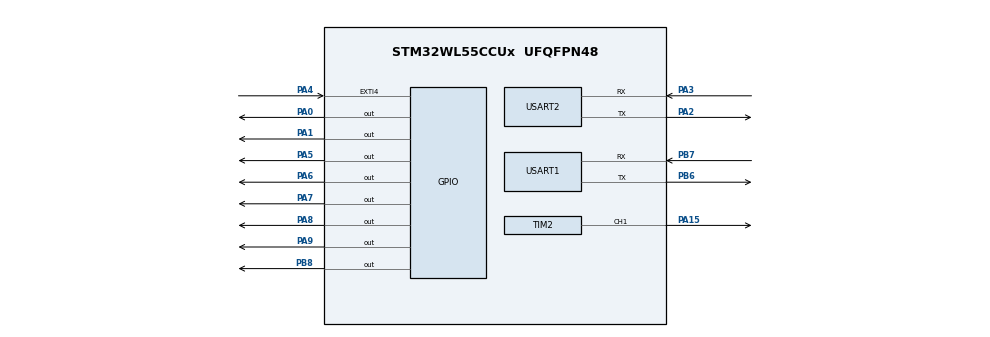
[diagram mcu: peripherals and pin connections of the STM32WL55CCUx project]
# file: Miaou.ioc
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Dma.Request0=USART2_RX
Dma.Request1=USART2_TX
Dma.USART2_RX.0.Channel_PRIV_NPRIV=DMA_CHANNEL_PRIV_ENABLE
Dma.USART2_RX.0.Direction=DMA_PERIPH_TO_MEMORY
Dma.USART2_RX.0.EventEnable=DISABLE
Dma.USART2_RX.0.Instance=DMA1_Channel1
Dma.USART2_RX.0.MemDataAlignment=DMA_MDATAALIGN_BYTE
Dma.USART2_RX.0.MemInc=DMA_MINC_ENABLE
Dma.USART2_RX.0.Mode=DMA_CIRCULAR
Dma.USART2_RX.0.PeriphDataAlignment=DMA_PDATAALIGN_BYTE
Dma.USART2_RX.0.PeriphInc=DMA_PINC_DISABLE
Dma.USART2_RX.0.Polarity=HAL_DMAMUX_REQ_GEN_RISING
Dma.USART2_RX.0.Priority=DMA_PRIORITY_VERY_HIGH
Dma.USART2_RX.0.RequestNumber=1
Dma.USART2_RX.0.SignalID=NONE
Dma.USART2_RX.0.SyncEnable=DISABLE
Dma.USART2_RX.0.SyncPolarity=HAL_DMAMUX_SYNC_NO_EVENT
Dma.USART2_RX.0.SyncRequestNumber=1
Dma.USART2_RX.0.SyncSignalID=NONE
Dma.USART2_TX.1.Channel_PRIV_NPRIV=DMA_CHANNEL_NPRIV_DISABLE
Dma.USART2_TX.1.Direction=DMA_MEMORY_TO_PERIPH
Dma.USART2_TX.1.EventEnable=DISABLE
Dma.USART2_TX.1.Instance=DMA1_Channel2
Dma.USART2_TX.1.MemDataAlignment=DMA_MDATAALIGN_BYTE
Dma.USART2_TX.1.MemInc=DMA_MINC_ENABLE
Dma.USART2_TX.1.Mode=DMA_NORMAL
Dma.USART2_TX.1.PeriphDataAlignment=DMA_PDATAALIGN_BYTE
Dma.USART2_TX.1.PeriphInc=DMA_PINC_DISABLE
Dma.USART2_TX.1.Polarity=HAL_DMAMUX_REQ_GEN_RISING
Dma.USART2_TX.1.Priority=DMA_PRIORITY_LOW
Dma.USART2_TX.1.RequestNumber=1
Dma.USART2_TX.1.SignalID=NONE
Dma.USART2_TX.1.SyncEnable=DISABLE
Dma.USART2_TX.1.SyncPolarity=HAL_DMAMUX_SYNC_NO_EVENT
Dma.USART2_TX.1.SyncRequestNumber=1
Dma.USART2_TX.1.SyncSignalID=NONE
Mcu.Family=STM32WL
Mcu.Name=STM32WL55CCUx
Mcu.Package=UFQFPN48
NVIC.DMA1_Channel1_IRQn=true\:0\:0\:false\:false\:true\:false\:true\:true
NVIC.DMA1_Channel2_IRQn=true\:0\:0\:false\:false\:true\:false\:true\:true
NVIC.EXTI4_IRQn=true\:0\:0\:false\:false\:true\:true\:true\:true
NVIC.PriorityGroup=NVIC_PRIORITYGROUP_4
NVIC.SUBGHZ_Radio_IRQn=true\:0\:0\:false\:false\:true\:true\:true\:true
NVIC.TIM16_IRQn=true\:0\:0\:false\:false\:true\:true\:true\:true
NVIC.USART1_IRQn=true\:0\:0\:false\:false\:true\:true\:true\:true
NVIC.USART2_IRQn=true\:1\:0\:true\:false\:true\:true\:true\:true
OSC_IN.Mode=HSE-External-Oscillator
OSC_IN.Signal=RCC_OSC_IN
OSC_OUT.Mode=HSE-External-Oscillator
OSC_OUT.Signal=RCC_OSC_OUT
PA0.Signal=GPIO_Output
PA1.Signal=GPIO_Output
PA13.Mode=Serial_Wire
PA13.Signal=DEBUG_JTMS-SWDIO
PA14.Mode=Serial_Wire
PA14.Signal=DEBUG_JTCK-SWCLK
PA15.Signal=S_TIM2_CH1
PA2.Mode=Asynchronous
PA2.Signal=USART2_TX
PA3.Mode=Asynchronous
PA3.Signal=USART2_RX
PA4.GPIO_ModeDefaultEXTI=GPIO_MODE_IT_FALLING
PA4.GPIO_PuPd=GPIO_PULLUP
PA4.Signal=GPXTI4
PA5.Signal=GPIO_Output
PA6.Signal=GPIO_Output
PA7.Signal=GPIO_Output
PA8.GPIO_PuPd=GPIO_PULLUP
PA8.PinState=GPIO_PIN_SET
PA8.Signal=GPIO_Output
PA9.Signal=GPIO_Output
PB6.Mode=Asynchronous
PB6.Signal=USART1_TX
PB7.Mode=Asynchronous
PB7.Signal=USART1_RX
PB8.Signal=GPIO_Output
ProjectManager.HeapSize=0x200
ProjectManager.StackSize=0x400
ProjectManager.TargetToolchain=STM32CubeIDE
RCC.AHBFreq_Value=48000000
RCC.APB1Freq_Value=48000000
RCC.APB1TimFreq_Value=48000000
RCC.APB2Freq_Value=48000000
RCC.APB2TimFreq_Value=48000000
RCC.APB3Freq_Value=48000000
RCC.CortexFreq_Value=48000000
RCC.HCLKFreq_Value=48000000
RCC.HSE_VALUE=32000000
RCC.HSI_VALUE=16000000
RCC.LSE_VALUE=32768
RCC.MSIClockRange=RCC_MSIRANGE_11
RCC.SYSCLKFreq_VALUE=48000000
RCC.VCOOutputFreq_Value=384000000
SH.S_TIM2_CH1.0=TIM2_CH1,PWM Generation1 CH1
SUBGHZ.BaudratePrescaler=SUBGHZSPI_BAUDRATEPRESCALER_4
TIM16.Channel=TIM_CHANNEL_1
TIM16.Period=60000
TIM16.Prescaler=128
TIM2.Channel-PWM\ Generation1\ CH1=TIM_CHANNEL_1
USART1.FIFOMode=FIFOMODE_DISABLE
USART1.VirtualMode-Asynchronous=VM_ASYNC
USART2.VirtualMode-Asynchronous=VM_ASYNC
VP_SUBGHZ_VS_SUBGHZ.Mode=SUBGHZ_Activate
VP_TIM16_VS_ClockSourceINT.Mode=Enable_Timer
VP_TIM16_VS_no_output1.Mode=Output Compare1 No Output
VP_TIM2_VS_ClockSourceINT.Mode=Internal
board=custom

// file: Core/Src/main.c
/* USER CODE BEGIN Header */
/**
  ******************************************************************************
  * @file           : main.c
  * @brief          : Main program body
  ******************************************************************************
  * @attention
  *
  * Copyright (c) 2022 STMicroelectronics.
  * All rights reserved.
  *
  * This software is licensed under terms that can be found in the LICENSE file
  * in the root directory of this software component.
  * If no LICENSE file comes with this software, it is provided AS-IS.
  *
  ******************************************************************************
  */
/* USER CODE END Header */
#include "main.h"
#include "dma.h"
#include "subghz.h"
#include "tim.h"
#include "usart.h"
#include "gpio.h"

/* USER CODE BEGIN Includes */
#include <string.h>
#include <stdio.h>
#include "radio_driver.h"
#include "stm32wlxx.h"
#include "stm32wlxx_hal.h"
#include "comunicator.h"
#include "util.h"
#include "utility.h" //to share FSM with Interrupts
#include <gnss/gnss.h>
#include <ERT_RF_Protocol_Interface/PacketDefinition.h>
/* USER CODE END Includes */

/* USER CODE BEGIN PTD */

//int rxMargin = 10000; //commented DO NOT USE USE

/* USER CODE END PTD */

/* USER CODE BEGIN PM */

/////////////////////////////////////////////////////////////////////////////
/////////////////////////////////////////////////////////////////////////////
#define UPLINK_MIAOU  		false  // If 'false' it is the DOWNLINK_MIAOU
/////////////////////////////////////////////////////////////////////////////
/////////////////////////////////////////////////////////////////////////////

#if UPLINK_MIAOU
#define RF_FREQUENCY                                867000000 /* Hz */ // AV UPLINK
#else
#define RF_FREQUENCY                                869000000 /* Hz */   // AV DOWNLINK
#endif
#define TX_OUTPUT_POWER                             22        /* dBm */ //Do not exceed 10 dBm !!!  (max >15  <22 dBm for HPmode)  (LP  0 < x < 10)
#define LORA_BANDWIDTH                              0        /* Hz */ // 125kHz <=> 0
#define LORA_SPREADING_FACTOR                       8 //10
#define LORA_CODINGRATE                             3
#define LORA_PREAMBLE_LENGTH                        8         /* Same for Tx and Rx */
#define LORA_SYMBOL_TIMEOUT                         5         /* Symbols */
// HIGH POWER max 16 dBm
// The STM32WL low power is amplified by AMP and thus really HIGH POWER!! => Highest power output
// 2 antennas always, just power splitter as 2 antennas in Rocket!
// So for the tests use mode HP (which is the lowest power in MiaouV2)
#define LORA_PA_OUTPUT								RFO_HP // OR RFO_HP if > 15 dBm   RFO_HP = HIGH POWER (Without AmpliOp) max 22 dBm (16 a 22)

#define RX_TIMOUT									4294967290 //3000//4294967290 //ms
#define VERBOSE 0  //  DO not put verbose if want to communicate with AV, as only 1 uart now

#if UPLINK_MIAOU
#define TX_ENABLED 0  // UPLINK
#else
#define TX_ENABLED 1  // DOWLINK
#endif

//pingPongFSM_t fsm;

/* USER CODE END PM */

/* USER CODE BEGIN PV */
void (*volatile eventReceptor)(pingPongFSM_t *const fsm);
PacketParams_t packetParams;  // TODO: this is lazy

const RadioLoRaBandwidths_t Bandwidths[] = { LORA_BW_125, LORA_BW_250, LORA_BW_500 };

uint8_t capsule_buf[256] = {0};

/* USER CODE END PV */

void SystemClock_Config(void);
/* USER CODE BEGIN PFP */
void radioInit(void);
void RadioOnDioIrq(RadioIrqMasks_t radioIrq);
void eventTxDone(pingPongFSM_t *const fsm);
void eventRxDone(pingPongFSM_t *const fsm);
void eventTxTimeout(pingPongFSM_t *const fsm);
void eventRxTimeout(pingPongFSM_t *const fsm);
void eventRxError(pingPongFSM_t *const fsm);
void enterMasterRx(pingPongFSM_t *const fsm);
void enterSlaveRx(pingPongFSM_t *const fsm);
//void enterMasterTx(pingPongFSM_t *const fsm, unsigned char* msg_to_send); IN MAIN.h !!!!!!!!!!!!!!!!!!!
void enterMasterTxLen(pingPongFSM_t *const fsm, uint8_t* msg_to_send, uint16_t len);
void enterSlaveTx(pingPongFSM_t *const fsm);
void transitionRxDone(pingPongFSM_t *const fsm);
void HAL_UART_RxCpltCallback(UART_HandleTypeDef *huart);
void UART2_RxCallback(uint8_t opcode, uint16_t len, uint8_t* data);

static char* msg_to_send = "Miaoux";
/*void HAL_Delay(uint32_t milliseconds) {
	//https://community.st.com/s/feed/0D50X00009XkW2MSAV
	milliseconds = milliseconds/48000000;

   (void) SysTick->CTRL;

   while (milliseconds != 0) {

      milliseconds -= (SysTick->CTRL & SysTick_CTRL_COUNTFLAG_Msk) >> SysTick_CTRL_COUNTFLAG_Pos;

   }
}*/

static uint8_t UART2_rxFragment;
static uint8_t UART2_rxBufferData[1024];
static util_buffer_u8_t UART2_rxBuffer;

static uint8_t UART1_rxFragment;
static uint8_t UART1_rxBufferData[1024];
static util_buffer_u8_t UART1_rxBuffer;

static comunicator_t com;

static gnss_context_t gnss;

/* USER CODE END PFP */

int main(void)
{
  /* USER CODE BEGIN 1 */

	 //pingPongFSM_t fsm;
	 //char uartBuff[200];

  /* USER CODE END 1 */

  /* MCU Configuration--------------------------------------------------------*/

  /* Reset of all peripherals, Initializes the Flash interface and the Systick. */
  HAL_Init();

  /* Configure the system clock */
  SystemClock_Config();

  /* Initialize all configured peripherals */
  MX_GPIO_Init();
  MX_SUBGHZ_Init();
  MX_DMA_Init();
  MX_USART2_UART_Init();
  MX_USART1_UART_Init();
  MX_TIM2_Init();
  MX_TIM16_Init();
  /* USER CODE BEGIN 2 */
  HAL_GPIO_WritePin(GPIOA, GPIO_PIN_0, GPIO_PIN_SET);
  HAL_GPIO_WritePin(GPIOA, GPIO_PIN_1, GPIO_PIN_SET);
  HAL_GPIO_WritePin(GPIOB, GPIO_PIN_8, GPIO_PIN_SET);
  //HAL_GPIO_WritePin(GPIOA, GPIO_PIN_8, GPIO_PIN_RESET);//GPS NReset

  //GPIO 0 ORANGE MILIEU
  //GPIO 1 Rouge
  //GPio 8 vert

  //HAL_UART_Receive_IT(&huart2, UART2_rxBuffer, 5);

  util_buffer_u8_init(&UART2_rxBuffer, UART2_rxBufferData, 1024);
  comunicator_init(&com, &huart2, UART2_RxCallback);
  HAL_UART_Receive_IT(&huart2, &UART2_rxFragment, 1);

  util_buffer_u8_init(&UART1_rxBuffer, UART1_rxBufferData, 1024);
  HAL_UART_Receive_IT(&huart1, &UART1_rxFragment, 1);

  //comunicator_send(&com, opcode, length, data);
  radioInit();

 #if VERBOSE == 1
  HAL_UART_Transmit(&huart2, (uint8_t *)"Radio Init\r\n", 12, HAL_MAX_DELAY);
 #endif
  //printf("Radio init\n");

  /* USER CODE END 2 */

  /* Infinite loop */
  /* USER CODE BEGIN WHILE */

	//int32_t rnd = 0;
	//10. Enable TxDone and timeout interrupts by configuring IRQ with Cfg_DioIrq().
	SUBGRF_SetDioIrqParams(IRQ_RADIO_NONE, IRQ_RADIO_NONE, IRQ_RADIO_NONE, IRQ_RADIO_NONE);
	//rnd = SUBGRF_GetRandom();

	fsm.state = STATE_NULL;
	fsm.subState = SSTATE_NULL;
	fsm.rxTimeout = RX_TIMOUT; // 3000 ms rxTimeout
	//fsm.rxMargin = 3000000;   // 200 ms
	//fsm.randomDelay = rnd >> 22; // [0, 1023] ms
	//sprintf(uartBuff, "rand=%u\r\n", fsm.randomDelay);
	//HAL_UART_Transmit(&huart2, (uint8_t *)uartBuff, strlen(uartBuff), HAL_MAX_DELAY);

	//HAL_Delay(fsm.randomDelay);
	SUBGRF_SetDioIrqParams( IRQ_RX_DONE | IRQ_RX_TX_TIMEOUT | IRQ_CRC_ERROR,
							IRQ_RX_DONE | IRQ_RX_TX_TIMEOUT | IRQ_CRC_ERROR,
							IRQ_RADIO_NONE, IRQ_RADIO_NONE );
	//SUBGRF_SetSwitch(RFO_LP, RFSWITCH_RX);
	SUBGRF_SetSwitch(RFO_LP, RFSWITCH_RX);
	SUBGRF_SetRx(fsm.rxTimeout << 6);
	//fsm.state = STATE_MASTER;
	//fsm.subState = SSTATE_RX;

	//radio_TX("salut",5);

	//HAL_GPIO_WritePin(GPIOA, GPIO_PIN_0, GPIO_PIN_RESET);
	//HAL_GPIO_WritePin(GPIOA, GPIO_PIN_1, GPIO_PIN_SET);
	//HAL_GPIO_WritePin(GPIOB, GPIO_PIN_8, GPIO_PIN_SET);
	//SUBGRF_SetTxInfinitePreamble();
	//SUBGRF_SetTxContinuousWave();

	HAL_GPIO_WritePin(GPIOA, GPIO_PIN_9, GPIO_PIN_RESET);// power supplies
//	HAL_GPIO_WritePin(GPIOA, GPIO_PIN_8, GPIO_PIN_RESET);// RESET GPS
//	HAL_GPIO_WritePin(GPIOB, GPIO_PIN_8, GPIO_PIN_SET);

	TIM2->ARR = 32e6/3000 -1;
	TIM2->CCR1 = 0.5*32e6/3000 -1 ;
	HAL_TIM_PWM_Start(&htim2, TIM_CHANNEL_1);
	HAL_Delay(300);
	HAL_TIM_PWM_Stop(&htim2, TIM_CHANNEL_1);

  while (1)
  {

    /* USER CODE END WHILE */

    /* USER CODE BEGIN 3 */

	  eventReceptor = NULL;
	  while (eventReceptor == NULL) {
		  while(!util_buffer_u8_isempty(&UART2_rxBuffer)) {
			  comunicator_recv(&com, util_buffer_u8_get(&UART2_rxBuffer));
		  }
		  while(!util_buffer_u8_isempty(&UART1_rxBuffer)) {
			  gnss_handle_fragment(&gnss, util_buffer_u8_get(&UART1_rxBuffer));
			  if(gnss.done) {
				  comunicator_send(&com, MIAOU_GNSS, sizeof(av_miaou_gnss_t), (uint8_t *) &gnss.data);

			  }
		  }
	  }
	  eventReceptor(&fsm);
  }
  /* USER CODE END 3 */
}

void SystemClock_Config(void)
{
  RCC_OscInitTypeDef RCC_OscInitStruct = {0};
  RCC_ClkInitTypeDef RCC_ClkInitStruct = {0};

  /** Configure the main internal regulator output voltage
  */
  __HAL_PWR_VOLTAGESCALING_CONFIG(PWR_REGULATOR_VOLTAGE_SCALE1);
  /** Initializes the CPU, AHB and APB busses clocks
  */
  RCC_OscInitStruct.OscillatorType = RCC_OSCILLATORTYPE_MSI;
  RCC_OscInitStruct.MSIState = RCC_MSI_ON;
  RCC_OscInitStruct.MSICalibrationValue = RCC_MSICALIBRATION_DEFAULT;
  RCC_OscInitStruct.MSIClockRange = RCC_MSIRANGE_11;
  RCC_OscInitStruct.PLL.PLLState = RCC_PLL_NONE;
  if (HAL_RCC_OscConfig(&RCC_OscInitStruct) != HAL_OK)
  {
    Error_Handler();
  }
  /** Configure the SYSCLKSource, HCLK, PCLK1 and PCLK2 clocks dividers
  */
  RCC_ClkInitStruct.ClockType = RCC_CLOCKTYPE_HCLK3|RCC_CLOCKTYPE_HCLK
                              |RCC_CLOCKTYPE_SYSCLK|RCC_CLOCKTYPE_PCLK1
                              |RCC_CLOCKTYPE_PCLK2;
  RCC_ClkInitStruct.SYSCLKSource = RCC_SYSCLKSOURCE_MSI;
  RCC_ClkInitStruct.AHBCLKDivider = RCC_SYSCLK_DIV1;
  RCC_ClkInitStruct.APB1CLKDivider = RCC_HCLK_DIV1;
  RCC_ClkInitStruct.APB2CLKDivider = RCC_HCLK_DIV1;
  RCC_ClkInitStruct.AHBCLK3Divider = RCC_SYSCLK_DIV1;

  if (HAL_RCC_ClockConfig(&RCC_ClkInitStruct, FLASH_LATENCY_2) != HAL_OK)
  {
    Error_Handler();
  }
}

/* USER CODE BEGIN 4 */

void HAL_TIM_PeriodElapsedCallback(TIM_HandleTypeDef* htim)
{
	if(htim == &htim16)
	HAL_TIM_PWM_Stop(&htim2, TIM_CHANNEL_1); // bip buzzer
}

//////////////////////////////////////////////////////////////////////////////////////
//////////////////////////////////////////////////////////////////////////////////////
// Here useful
//////////////////////////////////////////////////////////////////////////////////////
//////////////////////////////////////////////////////////////////////////////////////

/**
  * @brief  Initialize the Sub-GHz radio and dependent hardware.
  * @retval None
  */
void radioInit(void)
{
  // Initialize the hardware (SPI bus, TCXO control, RF switch)
  SUBGRF_Init(RadioOnDioIrq);

  // Use DCDC converter if `DCDC_ENABLE` is defined in radio_conf.h
  // "By default, the SMPS clock detection is disabled and must be enabled before enabling the SMPS." (6.1 in RM0453)
  SUBGRF_WriteRegister(SUBGHZ_SMPSC0R, (SUBGRF_ReadRegister(SUBGHZ_SMPSC0R) | SMPS_CLK_DET_ENABLE));
  SUBGRF_SetRegulatorMode();
  //WORK TODO desactivate the PA clamp
  //SUBGRF_WriteRegister(0x0889, (SUBGRF_ReadRegister(0x0889) | 0x0E)); //default 0100 0x04 can be set to 1111

  // Use the whole 256-byte buffer for both TX and RX
  //1, Define the location of the transmit payload data in the data buffer, with Set_BufferBaseAddress().
  SUBGRF_SetBufferBaseAddress(0x00, 0x00);
  //6. Define the RF frequency with Set_RfFrequency().
  SUBGRF_SetRfFrequency(RF_FREQUENCY);
  //7. Define the PA configuration with Set_PaConfig().
  //8. Define the PA output power and ramping with Set_TxParams().
  SUBGRF_SetRfTxPower(TX_OUTPUT_POWER);
  SUBGRF_SetStopRxTimerOnPreambleDetect(false);
  //3. Select the packet type (generic or LoRa) with Set_PacketType().
  SUBGRF_SetPacketType(PACKET_TYPE_LORA);
  //5. Define synchronization word in the associated packet type SUBGHZ_xSYNCR(n) with Write_Register().
  SUBGRF_WriteRegister( REG_LR_SYNCWORD, ( LORA_MAC_PRIVATE_SYNCWORD >> 8 ) & 0xFF );
  SUBGRF_WriteRegister( REG_LR_SYNCWORD + 1, LORA_MAC_PRIVATE_SYNCWORD & 0xFF );

  ModulationParams_t modulationParams;
  modulationParams.PacketType = PACKET_TYPE_LORA;
  modulationParams.Params.LoRa.Bandwidth = Bandwidths[LORA_BANDWIDTH];
  modulationParams.Params.LoRa.CodingRate = (RadioLoRaCodingRates_t)LORA_CODINGRATE;
  modulationParams.Params.LoRa.LowDatarateOptimize = 0x00;
  modulationParams.Params.LoRa.SpreadingFactor = (RadioLoRaSpreadingFactors_t)LORA_SPREADING_FACTOR;
  //9. Define the modulation parameters with Set_ModulationParams().
  SUBGRF_SetModulationParams(&modulationParams);

  packetParams.PacketType = PACKET_TYPE_LORA;
  packetParams.Params.LoRa.CrcMode = LORA_CRC_ON;
  packetParams.Params.LoRa.HeaderType = LORA_PACKET_VARIABLE_LENGTH;
  packetParams.Params.LoRa.InvertIQ = LORA_IQ_INVERTED;
  packetParams.Params.LoRa.PayloadLength = 0xFF;
  packetParams.Params.LoRa.PreambleLength = LORA_PREAMBLE_LENGTH;
 // packetParams.Params.LoRa.InvertIQ = //LORA_IQ_NORMAL;//LORA_IQ_INVERTED
  // 4. Define the frame format with Set_PacketParams().
  SUBGRF_SetPacketParams(&packetParams);

  //SUBGRF_SetLoRaSymbNumTimeout(LORA_SYMBOL_TIMEOUT);

  // WORKAROUND - Optimizing the Inverted IQ Operation, see DS_SX1261-2_V1.2 datasheet chapter 15.4
  // RegIqPolaritySetup @address 0x0736
  SUBGRF_WriteRegister( 0x0736, SUBGRF_ReadRegister( 0x0736 ) | ( 1 << 2 ) );

  //ADDED BA MARTIN TODO MAYBE DOES NOT WORK !!! TODO
  //SUBGRF_SetRxBoosted(3000);
}

/**
  * @brief  Receive data trough SUBGHZSPI peripheral
  * @param  radioIrq  interrupt pending status information
  * @retval None
  */
void RadioOnDioIrq(RadioIrqMasks_t radioIrq)
{
  switch (radioIrq)
  {
    case IRQ_TX_DONE:
      eventReceptor = eventTxDone;
      break;
    case IRQ_RX_DONE:
      eventReceptor = eventRxDone;
      break;
    case IRQ_RX_TX_TIMEOUT:
      if (SUBGRF_GetOperatingMode() == MODE_TX)
      {
        eventReceptor = eventTxTimeout;
      }
      else if (SUBGRF_GetOperatingMode() == MODE_RX)
      {
        eventReceptor = eventRxTimeout;
      }
      break;
    case IRQ_CRC_ERROR:
      eventReceptor = eventRxError;
      break;
    default:
      break;
  }
}

/**
  * @brief  Process the TX Done event
  * @param  fsm pointer to FSM context
  * @retval None
  */
void eventTxDone(pingPongFSM_t *const fsm)
{
	#if VERBOSE == 1
   HAL_UART_Transmit(&huart2, (uint8_t *)"Event TX Done\r\n", 15, HAL_MAX_DELAY);
   //printf("Tx 1 packet!");
#endif
   enterMasterRx(fsm);
   fsm->subState = SSTATE_RX;
   HAL_GPIO_WritePin(GPIOB, GPIO_PIN_8, GPIO_PIN_SET); //vert
}

/**
  * @brief  Process the RX Done event
  * @param  fsm pointer to FSM context
  * @retval None
  */
// callback finish to receive
void eventRxDone(pingPongFSM_t *const fsm)
{
	#if VERBOSE == 1
	HAL_UART_Transmit(&huart2, (uint8_t *)"Event RX Done\r\n", 15, HAL_MAX_DELAY);
	#endif
	transitionRxDone(fsm);
	//BSP_LED_Off(LED_GREEN);
	//BSP_LED_Toggle(LED_RED);
	#if TX_ENABLED == 1
	enterMasterTx(fsm, (uint8_t *) msg_to_send);
	#else
	enterMasterRx(fsm);
	#endif

	HAL_GPIO_WritePin(GPIOA, GPIO_PIN_0, GPIO_PIN_SET); // orange
}

/**
  * @brief  Process the TX Timeout event
  * @param  fsm pointer to FSM context
  * @retval None
  */
// Should not arrive, SF too big and set timout too small
void eventTxTimeout(pingPongFSM_t *const fsm)
{
	#if VERBOSE == 1
	HAL_UART_Transmit(&huart2, (uint8_t *)"Event TX Timeout\r\n", 18, HAL_MAX_DELAY);
	#endif
	enterMasterRx(fsm);

}

/**
  * @brief  Process the RX Timeout event
  * @param  fsm pointer to FSM context
  * @retval None
  */
void eventRxTimeout(pingPongFSM_t *const fsm)
{
	#if VERBOSE == 1
	HAL_UART_Transmit(&huart2, (uint8_t *)"Event RX Timeout\r\n", 18, HAL_MAX_DELAY);
	#endif
	#if TX_ENABLED == 1
	enterMasterTx(fsm, (uint8_t *)msg_to_send);
	#else
	enterMasterRx(fsm);
	#endif

	HAL_GPIO_WritePin(GPIOA, GPIO_PIN_0, GPIO_PIN_SET); // orange
    HAL_GPIO_WritePin(GPIOA, GPIO_PIN_1, GPIO_PIN_RESET); // rouge

}

/**
  * @brief  Process the RX Error event
  * @param  fsm pointer to FSM context
  * @retval None
  */
void eventRxError(pingPongFSM_t *const fsm)
{
	#if VERBOSE == 1
	HAL_UART_Transmit(&huart2, (uint8_t *)"Event Rx Error\r\n", 16, HAL_MAX_DELAY);
	#endif
	#if TX_ENABLED == 1
	enterMasterTx(fsm, (uint8_t *)msg_to_send);
	#else
	enterMasterRx(fsm);
	#endif
	HAL_GPIO_WritePin(GPIOA, GPIO_PIN_0, GPIO_PIN_SET); // orange
    HAL_GPIO_WritePin(GPIOA, GPIO_PIN_1, GPIO_PIN_RESET); // rouge

}

/**
  * @brief  Entry actions for the RX sub-state of the Master state
  * @param  fsm pointer to FSM context
  * @retval None
  */
// !!!!!!!!!!!!!!!!!!!!!!!!!!!!!!!!!!!!!!!!!!!!!!!!!!! Important
void enterMasterRx(pingPongFSM_t *const fsm)
{

#if LORA_PA_OUTPUT == RFO_LP
	HAL_Delay(1);
	HAL_GPIO_WritePin(GPIOA, GPIO_PIN_9, GPIO_PIN_RESET);// Disable power supplies

#endif
  HAL_GPIO_WritePin(GPIOA, GPIO_PIN_0, GPIO_PIN_RESET); // orange
  HAL_GPIO_WritePin(GPIOA, GPIO_PIN_1, GPIO_PIN_SET); // rouge
	#if VERBOSE == 1
  HAL_UART_Transmit(&huart2, (uint8_t *)"Master Rx start\r\n", 17, HAL_MAX_DELAY);
#endif
  SUBGRF_SetDioIrqParams( IRQ_RX_DONE | IRQ_RX_TX_TIMEOUT | IRQ_CRC_ERROR | IRQ_HEADER_ERROR,
                          IRQ_RX_DONE | IRQ_RX_TX_TIMEOUT | IRQ_CRC_ERROR | IRQ_HEADER_ERROR,
                          IRQ_RADIO_NONE,
                          IRQ_RADIO_NONE );
  SUBGRF_SetSwitch(RFO_LP, RFSWITCH_RX);
  packetParams.Params.LoRa.PayloadLength = 0xFF;
  SUBGRF_SetPacketParams(&packetParams); // todo maybe remove
  SUBGRF_SetRx(fsm->rxTimeout << 6);
}

/**
  * @brief  Entry actions for the TX sub-state of the Master state
  * @param  fsm pointer to FSM context
  * @retval None
  */
void enterMasterTx(pingPongFSM_t *const fsm, unsigned char* msg_to_send)
{
	//if(globalTXcounter == 70){
	//	globalTXcounter = 54;
	//}
	//globalTXcounter +=1;
	//
	//unsigned int const sz2  = strlen(globalTXcounter);
	//char charValue[1];
	//sprintf(charValue, "%c", globalTXcounter);

	//char *concat            = (char*)malloc(7);
	//memcpy(concat         , msg_to_send  , 5 );
	//memcpy(concat + 5     ,charValue , 1 );
	//concat[5+1] = '\0';
    //msg_to_send = concat;

	//unsigned char msg_len = 7;//strlen(msg_to_send);

	//HAL_Delay(rxMargin);
	HAL_GPIO_WritePin(GPIOB, GPIO_PIN_8, GPIO_PIN_RESET); //vert

#if LORA_PA_OUTPUT == RFO_LP
	HAL_GPIO_WritePin(GPIOA, GPIO_PIN_9, GPIO_PIN_SET);// enable power supplies
	HAL_Delay(12);
#endif

	HAL_TIM_PWM_Start(&htim2, TIM_CHANNEL_1); //bip
	HAL_TIM_Base_Start_IT(&htim16);

	#if VERBOSE == 1
	HAL_UART_Transmit(&huart2, "Master Tx start\r\n", 17, HAL_MAX_DELAY);
	#endif
	SUBGRF_SetDioIrqParams( IRQ_TX_DONE | IRQ_RX_TX_TIMEOUT,
						  IRQ_TX_DONE | IRQ_RX_TX_TIMEOUT,
						  IRQ_RADIO_NONE,
						  IRQ_RADIO_NONE ); // TODO irq to check if noise on channel for future projects

//#if 0 // ne pas envoyer de miaou nigga svp
	unsigned int const msg_len  = strlen(msg_to_send);
	SUBGRF_SetSwitch(LORA_PA_OUTPUT, RFSWITCH_TX);

	// Workaround 5.1 in DS.SX1261-2.W.APP (before each packet transmission)
	//https://cdn.sparkfun.com/assets/6/b/5/1/4/SX1262_datasheet.pdf p.103
	// très bresom
	SUBGRF_WriteRegister(0x0889, (SUBGRF_ReadRegister(0x0889) | 0x04)); //default 0100 0x04 can be set to 1111
	packetParams.Params.LoRa.PayloadLength = (uint8_t)msg_len;//0x4;
	SUBGRF_SetPacketParams(&packetParams);
	// 2. Write the payload data to the transmit data buffer with Write_Buffer().
	//11. Start the transmission by setting the sub-GHz radio in TX mode with Set_Tx(). After
	//the transmission is finished, the sub-GHz radio enters automatically the Standby mode.
	SUBGRF_SendPayload(msg_to_send/*&UART2_rxBuffer*/, msg_len, 0);//Timout
	//HAL_UART_Transmit(&huart2, &UART2_rxBuffer, 20, HAL_MAX_DELAY);
	//SUBGRF_SendPayload(strg, msg_len, 0);
//#endif

}

void enterMasterTxLen(pingPongFSM_t *const fsm, uint8_t* msg_to_send, uint16_t len)
{
	//HAL_Delay(rxMargin);

#if LORA_PA_OUTPUT == RFO_LP
	HAL_GPIO_WritePin(GPIOA, GPIO_PIN_9, GPIO_PIN_SET);// enable power supplies
	HAL_Delay(10);
#endif
	HAL_GPIO_WritePin(GPIOB, GPIO_PIN_8, GPIO_PIN_RESET); //vert

	HAL_TIM_PWM_Start(&htim2, TIM_CHANNEL_1);
	HAL_TIM_Base_Start_IT(&htim16);

	#if VERBOSE == 1
	HAL_UART_Transmit(&huart2, "Master Tx start\r\n", 17, HAL_MAX_DELAY);
	#endif
	SUBGRF_SetDioIrqParams( IRQ_TX_DONE | IRQ_RX_TX_TIMEOUT,
						  IRQ_TX_DONE | IRQ_RX_TX_TIMEOUT,
						  IRQ_RADIO_NONE,
						  IRQ_RADIO_NONE );
	SUBGRF_SetSwitch(LORA_PA_OUTPUT, RFSWITCH_TX);

	// Workaround 5.1 in DS.SX1261-2.W.APP (before each packet transmission)
	//https://cdn.sparkfun.com/assets/6/b/5/1/4/SX1262_datasheet.pdf p.103
	SUBGRF_WriteRegister(0x0889, (SUBGRF_ReadRegister(0x0889) | 0x04)); //default 0100 0x04 can be set to 1111
	packetParams.Params.LoRa.PayloadLength = (uint8_t)len+5;//0x4;
	SUBGRF_SetPacketParams(&packetParams);
	// 2. Write the payload data to the transmit data buffer with Write_Buffer().
	//11. Start the transmission by setting the sub-GHz radio in TX mode with Set_Tx(). After
	//the transmission is finished, the sub-GHz radio enters automatically the Standby mode.
	// TODO Capsule GS protocol
	//  | 0xFF | 0xFA | packetID | size | ...data... | CRC |
	capsule_buf[0] = 0xFF;
	capsule_buf[1] = 0xFA;
	capsule_buf[2] = 8; // = AV_TELEMETRY (CAPSULE_ID)
	capsule_buf[3] = len;
	memcpy(capsule_buf+4, msg_to_send, len); // not really optimal...
	// compute CRC
	uint8_t crc = 0;
	for (uint8_t i = 0; i < len; i++) crc += msg_to_send[i];
	capsule_buf[4+len] = crc;

	//SUBGRF_SendPayload(msg_to_send/*&UART2_rxBuffer*/, len, 0);//Timout  // Martin' base
	SUBGRF_SendPayload(capsule_buf/*&UART2_rxBuffer*/, len+5, 0);//Timout

	//HAL_UART_Transmit(&huart2, &UART2_rxBuffer, 20, HAL_MAX_DELAY);
	//SUBGRF_SendPayload(strg, msg_len, 0);

}

/**
  * @brief  Transition actions executed on every RX Done event (helper function)
  * @param  fsm pointer to FSM context
  * @retval None
  */
void transitionRxDone(pingPongFSM_t *const fsm)
{
  PacketStatus_t packetStatus;
  //int32_t cfo;
  //char uartBuff[100];

  // Workaround 15.3 in DS.SX1261-2.W.APP (because following RX w/ timeout sequence)
  SUBGRF_WriteRegister(0x0920, 0x00);
  SUBGRF_WriteRegister(0x0944, (SUBGRF_ReadRegister(0x0944) | 0x02));

  SUBGRF_GetPayload((uint8_t *)fsm->rxBuffer, &fsm->rxSize, 0xFF);
  SUBGRF_GetPacketStatus(&packetStatus);

  // ######################### AV-GS interface #######################
  // Transfer packet to AV board if follows Capsule protocol
  if (fsm->rxBuffer[0] == 0xFF && fsm->rxBuffer[1] == 0xFA && fsm->rxBuffer[3] == fsm->rxSize-5) { // delimiter + size check
	  uint8_t crc = 0;
	  for (uint8_t i = 4; i < fsm->rxSize-1; i++) crc += fsm->rxBuffer[i];
	  if (crc == fsm->rxBuffer[fsm->rxSize-1]) { // check CRC
		  // TODO check packetID ?
		  //if (fsm->rxBuffer[2] == 0x??)

		  // Technique du sale à cause de MSV2 du sale
		  uint16_t sizex = fsm->rxSize-5;
		  if (sizex % 2 != 0) sizex++;
		  // opcode RF is 0x65
		  comunicator_send(&com, MIAOU_RF, (uint16_t) sizex, (uint8_t*) fsm->rxBuffer+4); // remove | 0xFF | 0xFA | packetID | size |
		  // comunicator_send(&com, 0xFF, (uint16_t) fsm->rxSize-5, (uint8_t*) fsm->rxBuffer+4); // Normal technique
	  }
  }
  //HAL_UART_Transmit(&huart2, fsm->rxBuffer+4, fsm->rxSize-5, HAL_MAX_DELAY);
  //HAL_UART_Transmit(&huart2, fsm->rxBuffer, fsm->rxSize, HAL_MAX_DELAY);

  #if VERBOSE == 1
  sprintf(uartBuff, "\n\rRssiValue=%d dBm, SnrValue=%d Hz\r\n", packetStatus.Params.LoRa.RssiPkt, packetStatus.Params.LoRa.SnrPkt);
  //HAL_UART_Transmit(&huart2, uartBuff, strlen(uartBuff), HAL_MAX_DELAY);
 #endif
}

void UART2_RxCallback(uint8_t opcode, uint16_t len, uint8_t* data){
	enterMasterTxLen(&fsm,data,len);
}

void HAL_UART_RxCpltCallback(UART_HandleTypeDef *huart){
	if(huart == &huart2) {
		util_buffer_u8_add(&UART2_rxBuffer, UART2_rxFragment);
		HAL_UART_Receive_IT(&huart2, &UART2_rxFragment, 1);
	} else if (huart == &huart1) {
		util_buffer_u8_add(&UART1_rxBuffer, UART1_rxFragment);
		HAL_UART_Receive_IT(&huart1, &UART1_rxFragment, 1);
	}
}

/*
int __io_putchar(int ch) {
    ITM_SendChar(ch);
    return ch;
}
*/

/* USER CODE END 4 */

void Error_Handler(void)
{
  __disable_irq();
  while (1)
  {
  }
}
